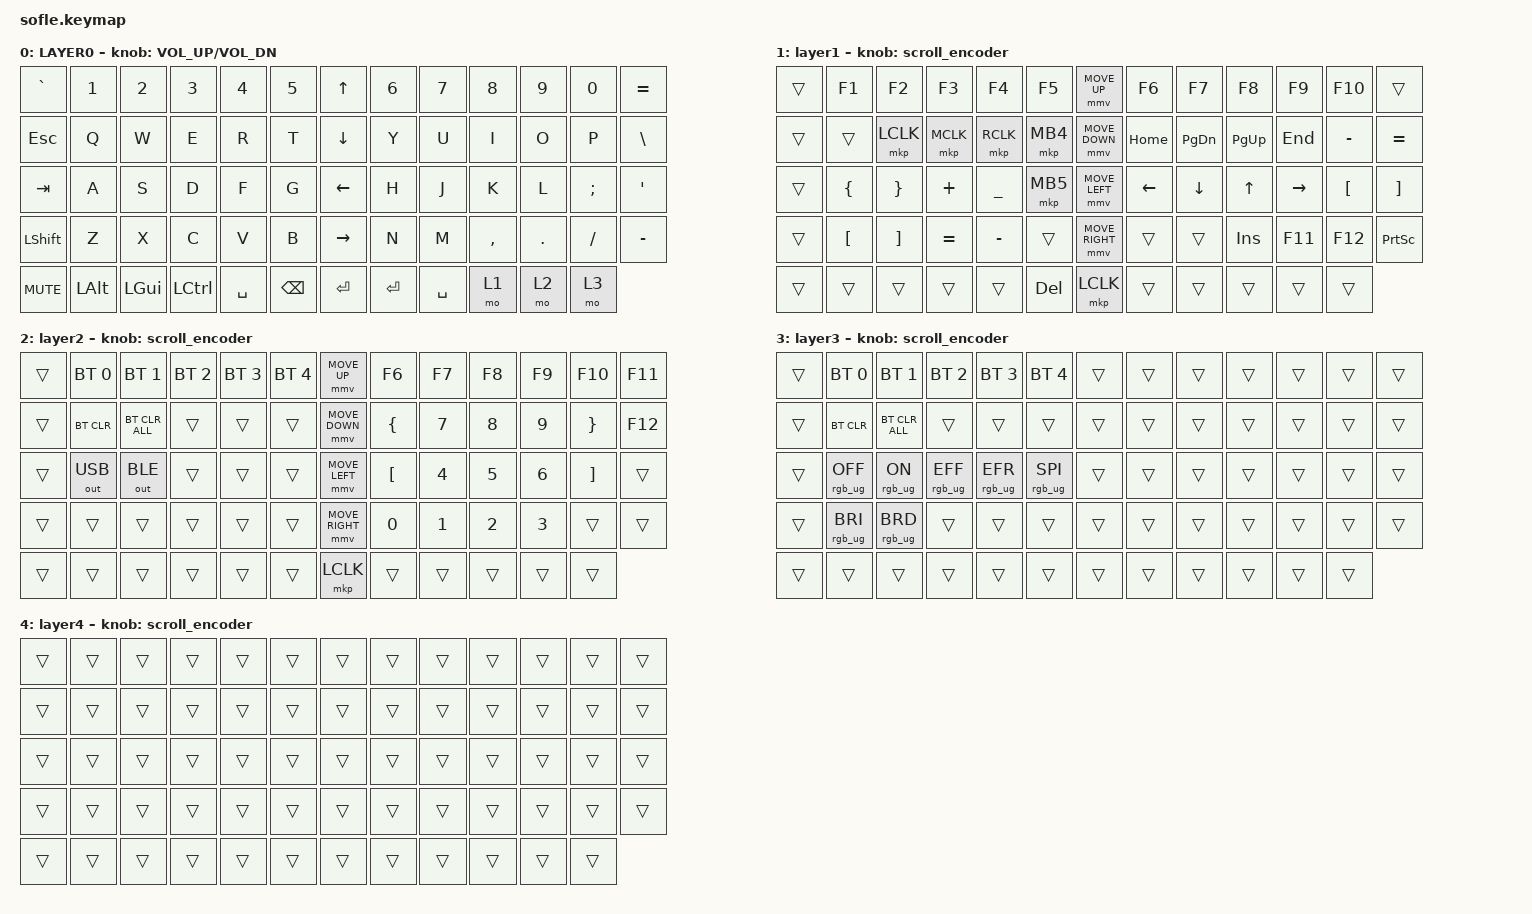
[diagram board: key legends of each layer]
#define ZMK_POINTING_DEFAULT_MOVE_VAL 1200  // 600
#define ZMK_POINTING_DEFAULT_SCRL_VAL 25   // 10

#include <input/processors.dtsi>
#include <zephyr/dt-bindings/input/input-event-codes.h>
#include <behaviors.dtsi>
#include <dt-bindings/zmk/bt.h>
#include <dt-bindings/zmk/keys.h>
#include <dt-bindings/zmk/outputs.h>
#include <dt-bindings/zmk/pointing.h>
#include <dt-bindings/zmk/rgb.h>

&mmv_input_listener { input-processors = <&zip_xy_scaler 2 1>; };

&msc_input_listener { input-processors = <&zip_scroll_scaler 2 1>; };

&msc {
    acceleration-exponent = <1>;      // 0
    time-to-max-speed-ms = <100>;       // 300
    delay-ms = <0>;                   // 0
};

&mmv {
    time-to-max-speed-ms = <500>;
    acceleration-exponent = <1>;
    trigger-period-ms = <16>;
};

&soft_off { hold-time-ms = <2000>; };

/ {
    scroll_encoder: scroll_encoder {
        compatible = "zmk,behavior-sensor-rotate";
        #sensor-binding-cells = <0>;
        bindings = <&msc SCRL_DOWN>, <&msc SCRL_UP>;

        tap-ms = <100>;
    };

    behaviors {
    };

    combos {
        compatible = "zmk,combos";

        softoff {
            bindings = <&soft_off>;
            key-positions = <14 28 40>;
        };
    };

    keymap {
        compatible = "zmk,keymap";

        layer0 {
            bindings = <
&kp GRAVE   &kp N1     &kp N2        &kp N3        &kp N4    &kp N5        &kp UP_ARROW     &kp N6     &kp N7     &kp N8     &kp N9       &kp N0      &kp EQUAL
&kp ESC     &kp Q      &kp W         &kp E         &kp R     &kp T         &kp DOWN_ARROW   &kp Y      &kp U      &kp I      &kp O        &kp P       &kp BSLH
&kp TAB     &kp A      &kp S         &kp D         &kp F     &kp G         &kp LEFT_ARROW   &kp H      &kp J      &kp K      &kp L        &kp SEMI    &kp APOS
&kp LSHFT   &kp Z      &kp X         &kp C         &kp V     &kp B         &kp RIGHT_ARROW  &kp N      &kp M      &kp COMMA  &kp DOT      &kp FSLH    &kp MINUS
&kp C_MUTE  &kp LALT   &kp LEFT_GUI  &kp LCTL      &kp SPACE &kp BACKSPACE &kp ENTER        &kp ENTER  &kp SPACE  &mo 1      &mo 2        &mo 3
            >;

            sensor-bindings = <&inc_dec_kp C_VOLUME_UP C_VOL_DN>;
            display-name = "LAYER0";
        };

        layer_1 {
            bindings = <
&trans      &kp F1   &kp F2     &kp F3     &kp F4     &kp F5      &mmv MOVE_UP     &kp F6    &kp F7        &kp F8      &kp F9     &kp F10           &trans
&trans      &trans   &mkp LCLK  &mkp MCLK  &mkp RCLK  &mkp MB4    &mmv MOVE_DOWN   &kp HOME  &kp PG_DN     &kp PG_UP   &kp END    &kp MINUS         &kp EQUAL
&trans      &kp LBRC &kp RBRC   &kp PLUS   &kp UNDER  &mkp MB5    &mmv MOVE_LEFT   &kp LEFT  &kp DOWN      &kp UP      &kp RIGHT  &kp LEFT_BRACKET  &kp RIGHT_BRACKET
&trans      &kp LBKT &kp RBKT   &kp EQUAL  &kp MINUS  &trans      &mmv MOVE_RIGHT  &trans    &trans        &kp INSERT  &kp F11    &kp F12           &kp PRINTSCREEN
&trans      &trans   &trans     &trans     &trans     &kp DELETE  &mkp LCLK        &trans    &trans        &trans      &trans     &trans
            >;

            display-name = "layer1";
            sensor-bindings = <&scroll_encoder>;
        };

        layer_2 {
            bindings = <
&trans     &bt BT_SEL 0  &bt BT_SEL 1    &bt BT_SEL 2  &bt BT_SEL 3  &bt BT_SEL 4    &mmv MOVE_UP     &kp F6    &kp F7    &kp F8      &kp F9     &kp F10    &kp F11
&trans     &bt BT_CLR    &bt BT_CLR_ALL  &trans        &trans        &trans          &mmv MOVE_DOWN   &kp LBRC  &kp N7    &kp N8      &kp N9     &kp RBRC   &kp F12
&trans     &out OUT_USB  &out OUT_BLE    &trans        &trans        &trans          &mmv MOVE_LEFT   &kp LBKT  &kp N4    &kp N5      &kp N6     &kp RBKT   &trans
&trans     &trans        &trans          &trans        &trans        &trans          &mmv MOVE_RIGHT  &kp N0    &kp N1    &kp N2      &kp N3     &trans     &trans
&trans     &trans        &trans          &trans        &trans        &trans          &mkp LCLK        &trans    &trans    &trans      &trans     &trans
            >;

            display-name = "layer2";
            sensor-bindings = <&scroll_encoder>;
        };

        layer_3 {
            bindings = <
&trans  &bt BT_SEL 0     &bt BT_SEL 1    &bt BT_SEL 2     &bt BT_SEL 3     &bt BT_SEL 4      &trans  &trans  &trans  &trans  &trans  &trans  &trans
&trans  &bt BT_CLR       &bt BT_CLR_ALL  &trans           &trans           &trans            &trans  &trans  &trans  &trans  &trans  &trans  &trans
&trans  &rgb_ug RGB_OFF  &rgb_ug RGB_ON  &rgb_ug RGB_EFF  &rgb_ug RGB_EFR  &rgb_ug RGB_SPI   &trans  &trans  &trans  &trans  &trans  &trans  &trans
&trans  &rgb_ug RGB_BRI  &rgb_ug RGB_BRD &trans           &trans           &trans            &trans  &trans  &trans  &trans  &trans  &trans  &trans
&trans  &trans           &trans          &trans           &trans           &trans            &trans  &trans  &trans  &trans  &trans  &trans
            >;

            display-name = "layer3";
            sensor-bindings = <&scroll_encoder>;
        };

        layer_4 {
            bindings = <
&trans  &trans  &trans  &trans  &trans  &trans    &trans  &trans  &trans  &trans  &trans  &trans  &trans
&trans  &trans  &trans  &trans  &trans  &trans    &trans  &trans  &trans  &trans  &trans  &trans  &trans
&trans  &trans  &trans  &trans  &trans  &trans    &trans  &trans  &trans  &trans  &trans  &trans  &trans
&trans  &trans  &trans  &trans  &trans  &trans    &trans  &trans  &trans  &trans  &trans  &trans  &trans
&trans  &trans  &trans  &trans  &trans  &trans    &trans  &trans  &trans  &trans  &trans  &trans
            >;
         display-name = "layer4";
            sensor-bindings = <&scroll_encoder>;
        };
    };
};
